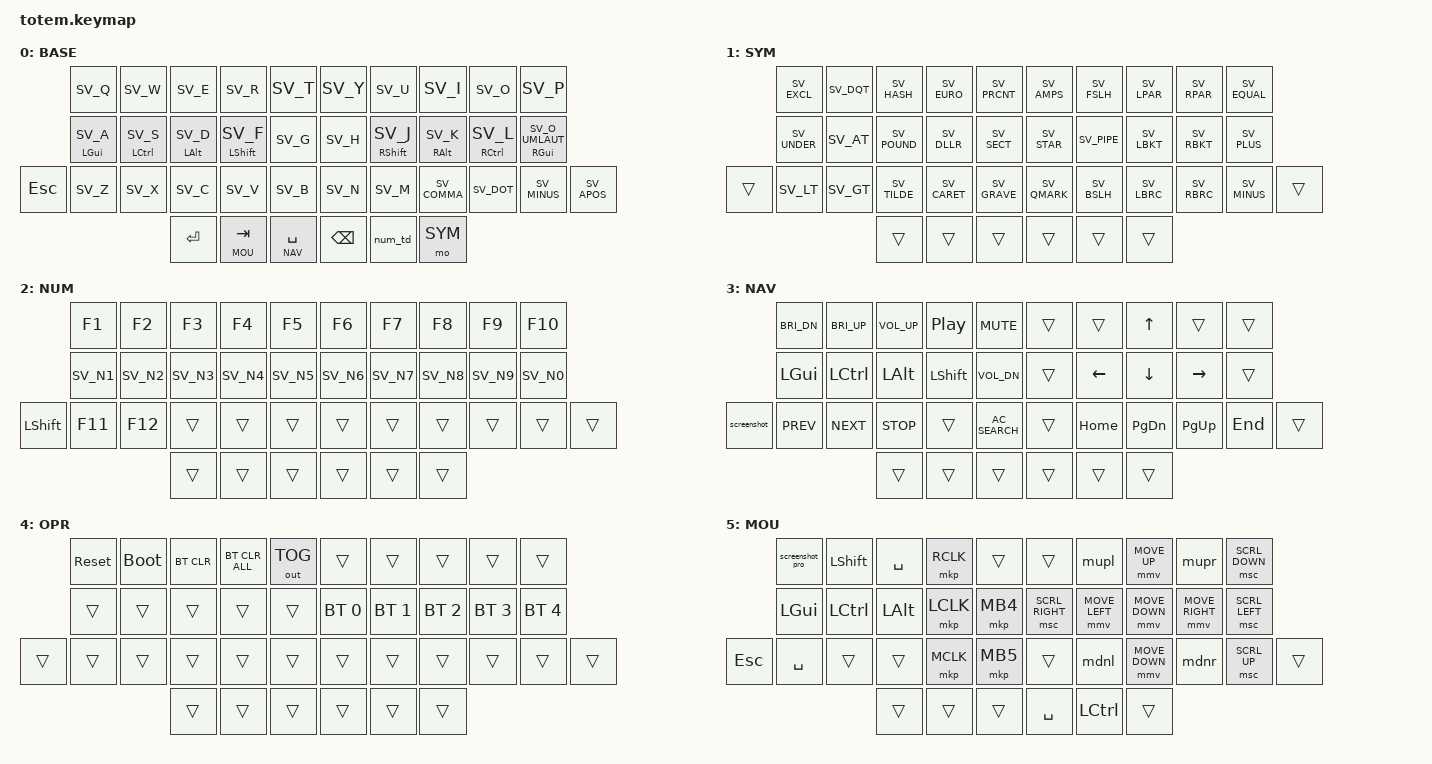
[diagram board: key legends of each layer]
#include <behaviors.dtsi>
#include <dt-bindings/zmk/bt.h>
#include <dt-bindings/zmk/keys.h>
#include <dt-bindings/zmk/outputs.h>
#include <dt-bindings/zmk/pointing.h>
#include "keys_sv.h" 

#define BASE 0
#define SYM  1
#define NUM  2
#define NAV  3
#define OPR  4
#define MOU  5

/* Mouse Speed Configuration */
&mmv {
    time-to-max-speed-ms = <1000>;
    acceleration-exponent = <1>;
};

&msc {
    time-to-max-speed-ms = <400>;                       
    acceleration-exponent = <1>;
};

/ {
    behaviors {
        hm: home_row_mods {
            compatible = "zmk,behavior-hold-tap";
            label = "HOME_ROW_MODS";
            #binding-cells = <2>;
            tapping-term-ms = <200>;
            quick-tap-ms = <175>;
            require-prior-idle-ms = <125>;
            flavor = "balanced";
            bindings = <&kp>, <&kp>;
        };

        num_td: num_layer_toggle {
            compatible = "zmk,behavior-tap-dance";
            label = "NUM_LAYER_TOGGLE";
            #binding-cells = <0>;
            tapping-term-ms = <200>;
            bindings = <&mo NUM>, <&tog NUM>;
        };
    };

    macros {
        /* Diagonal Mouse Movement Macros */
        mupl: mouse_up_left {
            compatible = "zmk,behavior-macro";
            #binding-cells = <0>;
            bindings = <&macro_press &mmv MOVE_UP &mmv MOVE_LEFT>, <&macro_pause_for_release>, <&macro_release &mmv MOVE_UP &mmv MOVE_LEFT>;
        };
        mupr: mouse_up_right {
            compatible = "zmk,behavior-macro";
            #binding-cells = <0>;
            bindings = <&macro_press &mmv MOVE_UP &mmv MOVE_RIGHT>, <&macro_pause_for_release>, <&macro_release &mmv MOVE_UP &mmv MOVE_RIGHT>;
        };
        mdnl: mouse_down_left {
            compatible = "zmk,behavior-macro";
            #binding-cells = <0>;
            bindings = <&macro_press &mmv MOVE_DOWN &mmv MOVE_LEFT>, <&macro_pause_for_release>, <&macro_release &mmv MOVE_DOWN &mmv MOVE_LEFT>;
        };
        mdnr: mouse_down_right {
            compatible = "zmk,behavior-macro";
            #binding-cells = <0>;
            bindings = <&macro_press &mmv MOVE_DOWN &mmv MOVE_RIGHT>, <&macro_pause_for_release>, <&macro_release &mmv MOVE_DOWN &mmv MOVE_RIGHT>;
        };

        /* Standard Mac Screenshot (CMD+SHIFT+4) */
        screenshot: screenshot {
            label = "mac_screenshot";
            compatible = "zmk,behavior-macro";
            #binding-cells = <0>;
            wait-ms = <40>; // Time between each action
            tap-ms = <40>;  // How long each tap lasts
            bindings = <&macro_press &kp LGUI &kp LSHFT>, <&macro_tap &kp SV_N4>, <&macro_release &kp LGUI &kp LSHFT>;
        };

        /* Advanced Mac Screenshot (CMD+SHIFT+ALT+4) */
        screenshot_pro: screenshot_pro {
            label = "mac_screenshot_pro";
            compatible = "zmk,behavior-macro";
            #binding-cells = <0>;
            wait-ms = <40>; // Time between each action
            tap-ms = <40>;  // How long each tap lasts
            bindings =  <&macro_press &kp LGUI &kp LSHFT &kp LCTRL>, 
                        <&macro_tap &kp SV_N4>, 
                        <&macro_release &kp LGUI &kp LSHFT &kp LCTRL>;
        };
    };

    combos {
        compatible = "zmk,combos";
        combo_aa { timeout-ms = <50>; key-positions = <8 9>; bindings = <&kp SV_A_RING>; };
        combo_ae { timeout-ms = <50>; key-positions = <18 19>; bindings = <&kp SV_A_UMLAUT>; };
        combo_esc { timeout-ms = <50>; key-positions = <0 1>; bindings = <&kp ESC>; };
        combo_opr { timeout-ms = <50>; key-positions = <34 37>; bindings = <&mo OPR>; };
        combo_caps_word { timeout-ms = <50>; key-positions = <13 16>; bindings = <&caps_word>; };
    };

    keymap {
        compatible = "zmk,keymap";

        base_layer {
            label = "BASE";
            bindings = <
                &kp SV_Q      &kp SV_W      &kp SV_E       &kp SV_R        &kp SV_T               &kp SV_Y      &kp SV_U        &kp SV_I       &kp SV_O        &kp SV_P
                &hm LGUI SV_A &hm LCTRL SV_S &hm LALT SV_D &hm LSHFT SV_F  &kp SV_G               &kp SV_H      &hm RSHFT SV_J  &hm RALT SV_K &hm RCTRL SV_L  &hm RGUI SV_O_UMLAUT
&kp ESC         &kp SV_Z      &kp SV_X      &kp SV_C       &kp SV_V        &kp SV_B               &kp SV_N      &kp SV_M        &kp SV_COMMA   &kp SV_DOT      &kp SV_MINUS        &kp SV_APOS
                                            &kp RET        &lt MOU TAB     &lt NAV SPACE          &kp BSPC      &num_td         &mo SYM
            >;
        };

        symbol_layer {
            label = "SYM";
            bindings = <
                &kp SV_EXCL  &kp SV_DQT   &kp SV_HASH  &kp SV_EURO  &kp SV_PRCNT    &kp SV_AMPS  &kp SV_FSLH  &kp SV_LPAR  &kp SV_RPAR  &kp SV_EQUAL
                &kp SV_UNDER &kp SV_AT    &kp SV_POUND &kp SV_DLLR  &kp SV_SECT     &kp SV_STAR  &kp SV_PIPE  &kp SV_LBKT  &kp SV_RBKT  &kp SV_PLUS
&trans          &kp SV_LT    &kp SV_GT    &kp SV_TILDE &kp SV_CARET &kp SV_GRAVE    &kp SV_QMARK &kp SV_BSLH  &kp SV_LBRC  &kp SV_RBRC  &kp SV_MINUS &trans
                                          &trans       &trans       &trans          &trans       &trans       &trans
            >;
        };

        num_fn_layer {
            label = "NUM";
            bindings = <
                &kp F1      &kp F2      &kp F3      &kp F4      &kp F5          &kp F6      &kp F7      &kp F8      &kp F9      &kp F10
                &kp SV_N1   &kp SV_N2   &kp SV_N3   &kp SV_N4   &kp SV_N5       &kp SV_N6   &kp SV_N7   &kp SV_N8   &kp SV_N9   &kp SV_N0
&kp LSHFT       &kp F11     &kp F12     &trans      &trans      &trans          &trans      &trans      &trans      &trans      &trans     &trans
                                        &trans      &trans      &trans          &trans      &trans      &trans
            >;
        };

        nav_media_layer {
            label = "NAV";
            bindings = <
                &kp C_BRI_DN &kp C_BRI_UP &kp C_VOL_UP &kp C_PP    &kp C_MUTE      &trans      &trans      &kp UP      &trans      &trans
                &kp LGUI     &kp LCTRL    &kp LALT     &kp LSHFT   &kp C_VOL_DN    &trans      &kp LEFT    &kp DOWN    &kp RIGHT   &trans
&screenshot     &kp C_PREV   &kp C_NEXT   &kp C_STOP   &trans      &kp C_AC_SEARCH &trans      &kp HOME    &kp PG_DN   &kp PG_UP   &kp END     &trans
                                          &trans       &trans      &trans          &trans      &trans      &trans
            >;
        };

        opr_layer {
            label = "OPR";
            bindings = <
                &sys_reset   &bootloader  &bt BT_CLR   &bt BT_CLR_ALL &out OUT_TOG    &trans       &trans       &trans       &trans       &trans
                &trans       &trans       &trans       &trans         &trans          &bt BT_SEL 0 &bt BT_SEL 1 &bt BT_SEL 2 &bt BT_SEL 3 &bt BT_SEL 4
&trans          &trans       &trans       &trans       &trans         &trans          &trans       &trans       &trans       &trans       &trans       &trans
                                          &trans       &trans         &trans          &trans       &trans       &trans
            >;
        };

        mouse_layer {
            label = "MOU";
            bindings = <
                /* LEFT SIDE: Modifiers & Clicks */                 /* RIGHT SIDE: 8-Way Move & Scroll */
                &screenshot_pro &kp LSHFT   &kp SPACE    &mkp RCLK    &trans          &trans       &mupl           &mmv MOVE_UP    &mupr           &msc SCRL_DOWN
                &kp LGUI        &kp LCTRL   &kp LALT     &mkp LCLK    &mkp MB4        &msc SCRL_RIGHT &mmv MOVE_LEFT &mmv MOVE_DOWN  &mmv MOVE_RIGHT &msc SCRL_LEFT
&kp ESC         &kp SPACE       &trans      &trans       &mkp MCLK    &mkp MB5        &trans       &mdnl           &mmv MOVE_DOWN   &mdnr           &msc SCRL_UP &trans
                                            &trans       &trans       &trans          &kp SPACE    &kp LCTRL       &trans
            >;
        };
    };
};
